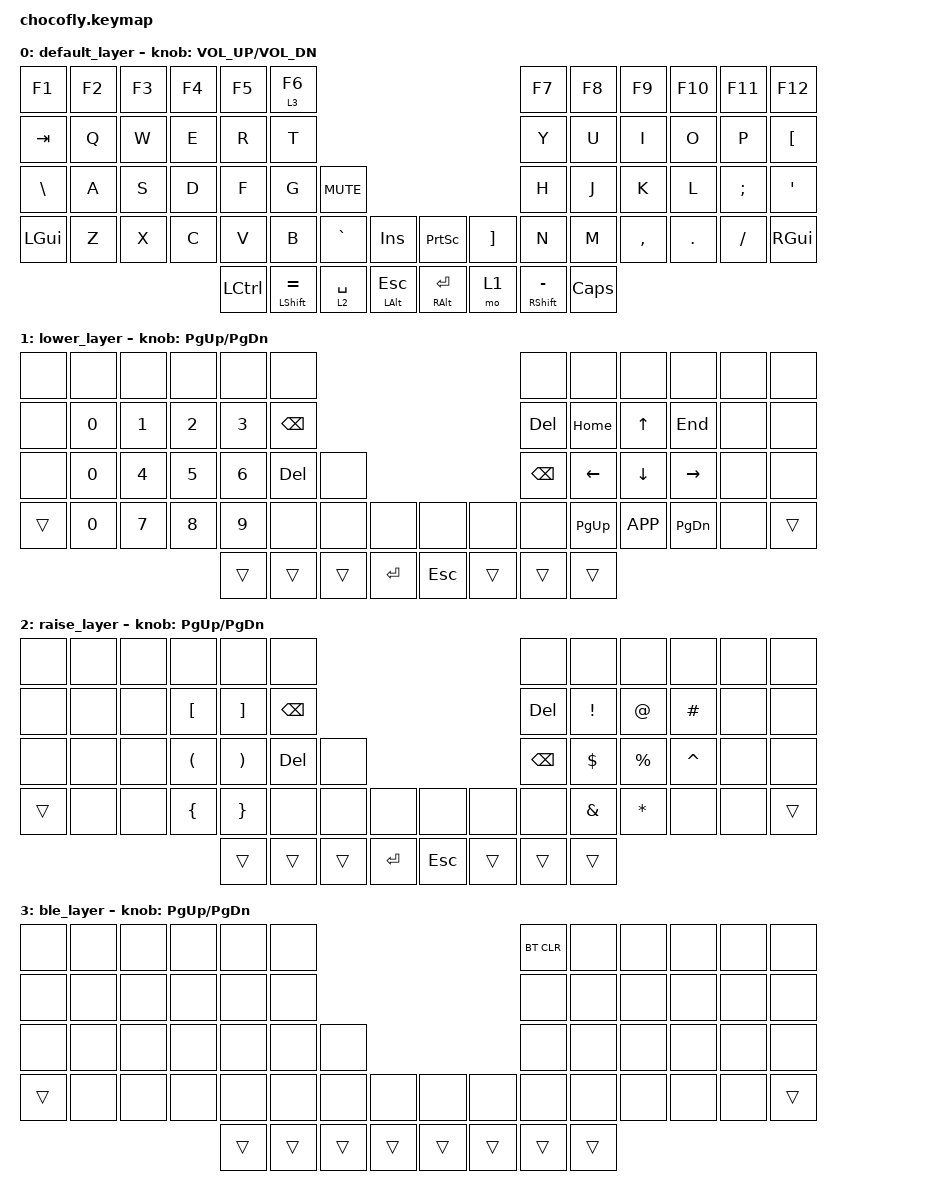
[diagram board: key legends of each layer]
#include <behaviors.dtsi>
#include <dt-bindings/zmk/keys.h>
#include <dt-bindings/zmk/bt.h>

&lt { quick_tap_ms = <200>; };
&mt { quick_tap_ms = <200>; };

/ {
    keymap {
        compatible = "zmk,keymap";

        default_layer {
// ------------------------------------------------------------------------                                              -----------------------------------------------------------------
// |   F1    |    F2   |    F3   |    F4   |  F5         |  F6            |                                              |  F7           |    F8    |    F9   |   F10 |   F11  |    F12  |
// |   TAB   |    Q    |    W    |    E    |  R          |  T             |-----------                                   |  Y            |    U     |    I    |   O   |   P    |    [    |
// |   \     |    A    |    S    |    D    |  F          |  G             |   VOL_M  |-----------------------------------|  H            |    J     |    K    |   L   |   ;    |    '    |
// |   CTRL  |    Z    |    X    |    C    |  V          |  B             |   GRAVE  |     INSERT  |  PR_SCR    |    ]   |  N            |    M     |    ,    |   .   |   /    |  R CTRL |
// ----------------------------------------|  GUI        |  SHIFT         |   SPACE  |     ESCAPE  |  ENTER     |    FN  |  R SHIFT      |   GUI    |-------------------------------------
//                                         ----------------------------------------------------------------------------------------------------------
           bindings = <
    &kp F1        &kp F2   &kp F3   &kp F4   &kp F5        &lt 3 F6                                                       &kp F7          &kp F8     &kp F9    &kp F10 &kp F11  &kp F12
    &kp TAB       &kp Q    &kp W    &kp E    &kp R         &kp T                                                          &kp Y           &kp U      &kp I     &kp O   &kp P    &kp LBKT
    &kp BSLH      &kp A    &kp S    &kp D    &kp F         &kp G           &kp K_MUTE                                     &kp H           &kp J      &kp K     &kp L   &kp SEMI &kp SQT
    &kp LGUI      &kp Z    &kp X    &kp C    &kp V         &kp B           &kp GRAVE   &kp INS      &kp PSCRN    &kp RBKT &kp N           &kp M      &kp COMMA &kp DOT &kp FSLH &kp RGUI
                                             &kp LCTRL     &mt LSHFT EQUAL &lt 2 SPACE &mt LALT ESC &mt RALT RET &mo 1    &mt RSHFT MINUS &kp CAPS
            >;
            sensor-bindings = <&inc_dec_kp K_VOL_UP K_VOL_DN>;
        };

        lower_layer {
// -------------------------------------------------------------                                       -------------------------------------------------------------
// |         |         |         |         |         |         |                                       |         |         |         |         |         |         |
// |         |    0    |    1    |    2    |    3    |  BSPC   |----------                             |  DEL    |   HOME  |   UP    |  END    |         |         |
// |         |    0    |    4    |    5    |    6    |  DEL    |         |-----------------------------|  BSPC   |   LEFT  |   DOWN  |  RIGHT  |         |         |
// |    -    |    0    |    7    |    8    |    9    |         |         |         |         |         |         |   PG UP | APP MENU| PG DOWN |         |    -    |
// ----------------------------------------|    -    |  -      |    -    |  ENTER  | ESCAPE  |    -    |    -    |    -    |----------------------------------------
//                                         ---------------------------------------------------------------------------------
            bindings = <
    &none         &none    &none    &none     &none     &none                                          &none       &none      &none      &none      &none   &none
    &none         &kp N0   &kp N1   &kp N2    &kp N3    &kp BSPC                                       &kp DEL     &kp HOME   &kp UP     &kp END    &none   &none
    &none         &kp N0   &kp N4   &kp N5    &kp N6    &kp DEL   &none                                &kp BSPC    &kp LEFT   &kp DOWN   &kp RIGHT  &none   &none
    &trans        &kp N0   &kp N7   &kp N8    &kp N9    &none     &none   &none    &none     &none     &none       &kp PG_UP  &kp K_APP  &kp PG_DN  &none   &trans
                                              &trans    &trans    &trans  &kp RET  &kp ESC   &trans    &trans      &trans
            >;
            sensor-bindings = <&inc_dec_kp PG_UP PG_DN>;
        };

        raise_layer {
// -------------------------------------------------------------                                        -------------------------------------------------------------
// |         |         |         |         |         |         |                                       |         |         |         |         |         |         |
// |         |         |         |    [    |    ]    |    BSPC |----------                             |  DEL    |    !    |    @    |    #    |         |         |
// |         |         |         |    (    |    )    |    DEL  |         |-----------------------------|  BSPC   |    $    |    %    |    ^    |         |         |
// |    -    |         |         |    {    |    }    |         |         |         |         |         |         |    &    |    *    |    .    |         |    -    |
// ----------------------------------------|    -    |    -    |    -    |  ENTER  | ESCAPE  |    -    |    -    |    -    |----------------------------------------
//                                         ---------------------------------------------------------------------------------
            bindings = <
    &none         &none    &none    &none     &none     &none                                          &none      &none     &none     &none      &none    &none
    &none         &none    &none    &kp LBKT  &kp RBKT  &kp BSPC                                       &kp DEL    &kp EXCL  &kp AT    &kp HASH   &none    &none
    &none         &none    &none    &kp LPAR  &kp RPAR  &kp DEL   &none                                &kp BSPC   &kp DLLR  &kp PRCNT &kp CARET  &none    &none
    &trans        &none    &none    &kp LBRC  &kp RBRC  &none     &none   &none    &none     &none     &none      &kp AMPS  &kp ASTRK &none      &none    &trans
                                              &trans    &trans    &trans  &kp RET  &kp ESC   &trans    &trans     &trans
            >;
            sensor-bindings = <&inc_dec_kp PG_UP PG_DN>;
        };

        ble_layer {
// -------------------------------------------------------------                                       -------------------------------------------------------------
// |         |         |         |         |         |         |                                       | BT_CLR  |         |         |         |         |         |
// |         |         |         |         |         |         |----------                             |         |         |         |         |         |         |
// |         |         |         |         |         |         |         |-----------------------------|         |         |         |         |         |         |
// |    -    |         |         |         |         |         |         |         |         |         |         |         |         |         |         |    -    |
// ----------------------------------------|    -    |    -    |    -    |    -    |    -    |    -    |    -    |    -    |----------------------------------------
//                                         ---------------------------------------------------------------------------------
            bindings = <
    &none         &none    &none    &none     &none     &none                                          &bt BT_CLR &none    &none    &none    &none    &none
    &none         &none    &none    &none     &none     &none                                          &none      &none    &none    &none    &none    &none
    &none         &none    &none    &none     &none     &none     &none                                &none      &none    &none    &none    &none    &none
    &trans        &none    &none    &none     &none     &none     &none   &none    &none     &none     &none      &none    &none    &none    &none    &trans
                                              &trans    &trans    &trans  &trans   &trans    &trans    &trans     &trans
            >;
            sensor-bindings = <&inc_dec_kp PG_UP PG_DN>;
        };
    };
};
